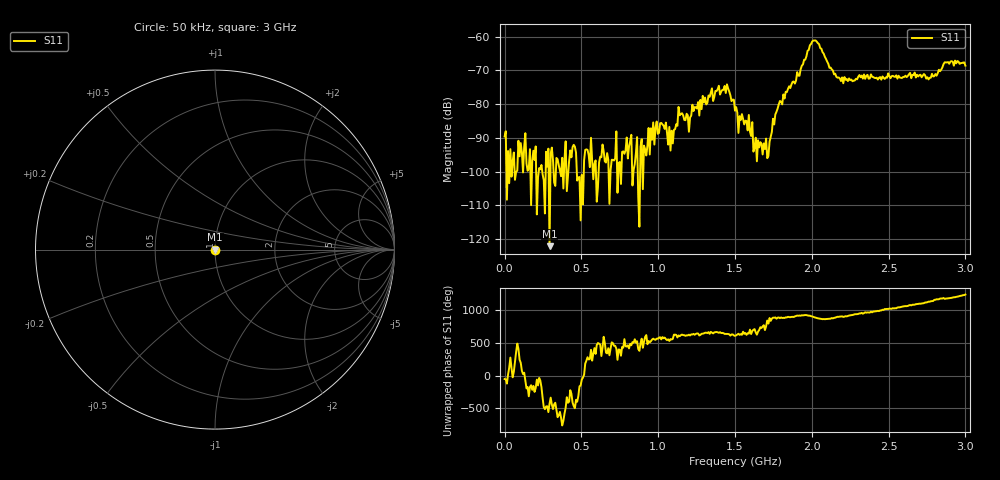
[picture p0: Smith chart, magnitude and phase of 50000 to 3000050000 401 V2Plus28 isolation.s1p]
! NanoVNA-App
! Date: 2020-11-14 10:24:41
! Start: 50kHz Stop: 3.0001GHz Points: 401
! S-Parameter data: F S11
# Hz S RI R 50
!  Frequency  S11 Real  S11 Imag
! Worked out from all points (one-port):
!   401 points, 50 kHz to 3 GHz, reference 50 ohm
!   lowest |S11| = -122.2 dB at 292.6 MHz (marker M1), VSWR 1.00, Z = 50 - j7.4e-05 ohm
!   |S11| at or under -10 dB: start of sweep to end of sweep
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50000  2.05e-05 -2.61e-05
2.9255e8  2.46e-07 -7.4e-07
3.7505e8  1.14e-05 -1.12e-05
7.5005e8  1.11e-05 8.36e-06
1.12505e9  -3.33e-05 -3.42e-05
1.25255e9  2.53e-05 -8.24e-05
1.31255e9  4.82e-05 -8.67e-05
1.38005e9  9.89e-05 -0.000121
1.44005e9  2.37e-05 -0.000144
1.50005e9  -2.77e-05 -7.51e-05
1.77005e9  -6.87e-05 3.49e-05
1.79255e9  -0.000106 3.46e-05
1.87505e9  -0.000214 -7.53e-06
1.92755e9  -0.000312 -0.000108
1.98755e9  -0.000705 -0.000247
2.01755e9  -0.000877 7.85e-05
2.04755e9  -0.000707 0.00032
2.11505e9  -0.000312 0.000151
2.16005e9  -0.000254 1.58e-05
2.19005e9  -0.000219 -2.69e-05
2.25005e9  -0.000206 -9.71e-05
2.32505e9  -0.000121 -0.000237
2.43755e9  -3.38e-07 -0.000247
2.62505e9  0.000258 -4.85e-05
2.76005e9  0.000134 0.000191
2.80505e9  2.96e-05 0.000278
2.87255e9  -8.41e-05 0.000409
3.00005e9  -0.000358 0.000103
